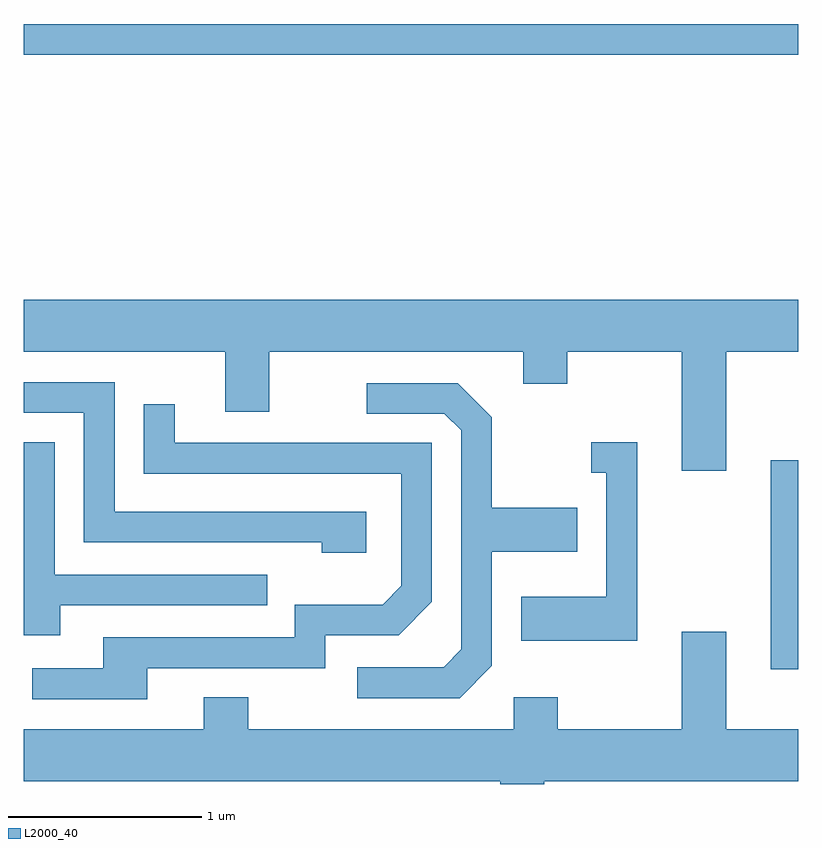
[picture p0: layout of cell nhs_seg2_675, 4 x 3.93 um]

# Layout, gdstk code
import gdstk
lib = gdstk.Library(unit=1e-6, precision=1e-09)
def R(c, l, rs):  # rectangles x0, y0, x1, y1
    for r in rs: c.add(gdstk.rectangle(r[:2], r[2:], *l))
def P(c, l, *ps):  # polygons
    for p in ps: c.add(gdstk.Polygon(p, *l))
L2000_40 = (2000, 40)

nhs_seg2_675 = lib.new_cell('nhs_seg2_675')
R(nhs_seg2_675, L2000_40, [(207.471,1104.396,207.611,1105.474), (203.611,1107.571,207.611,1107.729)])
P(nhs_seg2_675, L2000_40, [(207.239,1106.036),(207.611,1106.036),(207.611,1106.304),(203.611,1106.304),(203.611,1106.036),(204.651,1106.036),(204.651,1105.726),(204.879,1105.726),(204.879,1106.036),(206.191,1106.036),(206.191,1105.871),(206.419,1105.871),(206.419,1106.036),(207.011,1106.036),(207.011,1105.421),(207.239,1105.421)],
  [(205.379,1105.209),(204.079,1105.209),(204.079,1105.879),(203.611,1105.879),(203.611,1105.721),(203.921,1105.721),(203.921,1105.051),(205.151,1105.051),(205.151,1104.996),(205.379,1104.996)],
  [(206.029,1104.414),(206.029,1105.001),(206.469,1105.001),(206.469,1105.229),(206.029,1105.229),(206.029,1105.697),(205.852,1105.874),(205.383,1105.874),(205.383,1105.716),(205.784,1105.716),(205.871,1105.629),(205.871,1104.497),(205.779,1104.404),(205.333,1104.404),(205.333,1104.246),(205.862,1104.246)],
  [(204.249,1104.401),(205.169,1104.401),(205.169,1104.571),(205.547,1104.571),(205.719,1104.744),(205.719,1105.564),(204.389,1105.564),(204.389,1105.763),(204.231,1105.763),(204.231,1105.406),(205.561,1105.406),(205.561,1104.827),(205.464,1104.729),(205.011,1104.729),(205.011,1104.559),(204.021,1104.559),(204.021,1104.399),(203.653,1104.399),(203.653,1104.241),(204.249,1104.241)],
  [(203.799,1104.726),(204.868,1104.726),(204.868,1104.884),(203.769,1104.884),(203.769,1105.569),(203.611,1105.569),(203.611,1104.571),(203.799,1104.571)],
  [(206.779,1105.569),(206.543,1105.569),(206.543,1105.411),(206.621,1105.411),(206.621,1104.769),(206.181,1104.769),(206.181,1104.541),(206.779,1104.541)],
  [(206.299,1103.816),(207.611,1103.816),(207.611,1104.084),(207.239,1104.084),(207.239,1104.589),(207.011,1104.589),(207.011,1104.084),(206.369,1104.084),(206.369,1104.249),(206.141,1104.249),(206.141,1104.084),(204.769,1104.084),(204.769,1104.249),(204.541,1104.249),(204.541,1104.084),(203.611,1104.084),(203.611,1103.816),(206.071,1103.816),(206.071,1103.802),(206.299,1103.802)])

lib.write_gds('nhs_seg2_675.gds')
